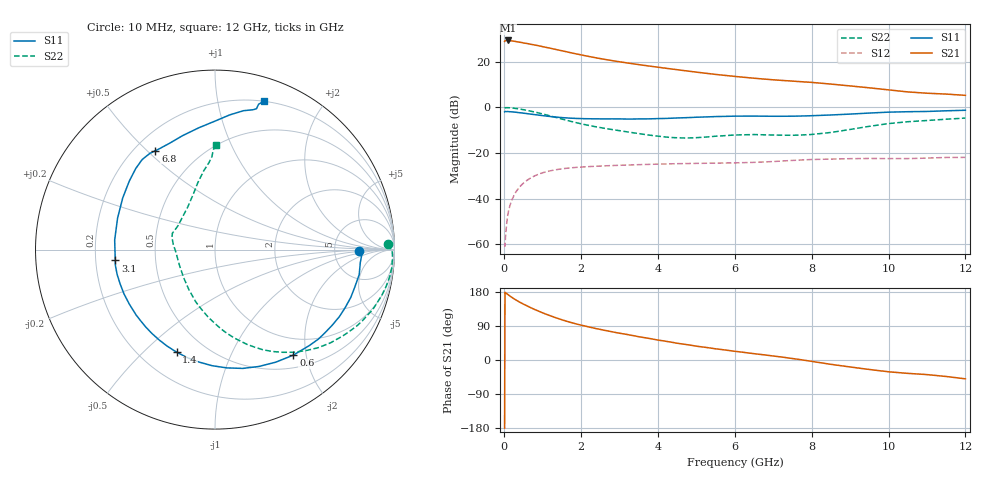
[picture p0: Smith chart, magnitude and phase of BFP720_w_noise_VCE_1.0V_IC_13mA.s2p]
! Infineon Technologies  Discrete & RF Semiconductors
! BFP720
! VCE =  1.0 V,  IC =  13 mA
! Common Emitter S-Parameters:  Aug 2012
# GHz  S  MA  R  50
!  f  S11  S21  S12  S22
! GHz  MAG  ANG  MAG  ANG  MAG  ANG  MAG  ANG
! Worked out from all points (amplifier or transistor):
!   105 points, 10 MHz to 12 GHz, reference 50 ohm
!   highest |S21| = 29.4 dB at 100 MHz (marker M1)
!   |S21| within 3 dB of that: start of sweep to 1.08 GHz
!   unconditionally stable (mu >= 1): start of sweep to 10.92 MHz; 5.045 GHz to 11.64 GHz
!   at 300 MHz: K = 0.10, MSG = 33.1 dB, |S12| = -37.2 dB
!   at 3.6 GHz: K = 0.78, MSG = 21.8 dB, |S12| = -25.1 dB
!   at 12 GHz: K = 0.92, MSG = 13.6 dB, |S12| = -21.9 dB
!   lowest NFmin = 0.59 dB at 450 MHz
!   S11 on the Smith chart (normalised r, x): 10 MHz: 9.17, -0.29; 600 MHz: 0.70, -1.77; 1.4 GHz: 0.35, -0.64; 3.1 GHz: 0.28, -0.05; 6.8 GHz: 0.28, +0.53; 12 GHz: 0.20, +1.36
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0.01  0.8035 -0.4  28.28 -179.8  0.001 -34.5  0.9647 1.8
0.02  0.8184 -2.0  29.29 178.5  0.0009 91.0  0.9879 -0.8
0.1  0.8155 -9.8  29.65 172.5  0.0047 83.5  0.9901 -6.0
0.2  0.8021 -19.4  28.92 165.2  0.0093 80.3  0.9751 -12.1
0.3  0.7872 -28.3  28.17 158.7  0.0138 75.8  0.9519 -17.9
0.45  0.762 -40.9  26.81 150.1  0.0199 69.2  0.9105 -26.1
0.6  0.7322 -53.4  25.37 142.5  0.0254 63.2  0.8603 -33.9
0.8  0.6956 -69.4  23.55 133.0  0.0317 56.0  0.7929 -43.6
0.9  0.6799 -76.8  22.64 128.7  0.0344 52.6  0.7565 -48.1
1.1  0.6471 -91.4  20.82 120.4  0.0389 46.5  0.6853 -56.6
1.4  0.6102 -110.5  18.36 109.5  0.0437 39.0  0.5875 -67.8
1.7  0.5844 -127.2  16.16 100.0  0.0469 33.2  0.5037 -77.7
2.1  0.5672 -143.9  13.74 89.7  0.0497 27.5  0.4207 -88.7
2.6  0.562 -160.0  11.46 78.5  0.0522 22.4  0.3498 -100.9
3.1  0.559 -173.8  9.799 69.0  0.0541 18.7  0.3003 -112.5
4.1  0.5724 159.7  7.472 51.1  0.0573 12.7  0.2294 -141.2
5  0.6111 141.4  5.975 36.5  0.0592 8.4  0.2175 -175.1
6.1  0.6455 127.9  4.723 21.8  0.0611 5.4  0.25 163.3
6.8  0.6435 121.1  4.183 13.1  0.0639 4.5  0.2506 155.9
8.5  0.6846 97.6  3.265 -11.4  0.0736 -4.4  0.2827 122.3
10.5  0.8074 74.8  2.197 -35.3  0.0754 -14.8  0.4866 93.9
12  0.8689 71.8  1.848 -49.7  0.0802 -22.2  0.5855 89.6
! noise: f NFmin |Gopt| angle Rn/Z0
0.45  0.59  0.25  1  0.17
1.8  0.65  0.23  16  0.13
2.4  0.7  0.21  29  0.37
5.5  0.86  0.09  -13  0.17
10  1.05  0.42  -76  0.26
